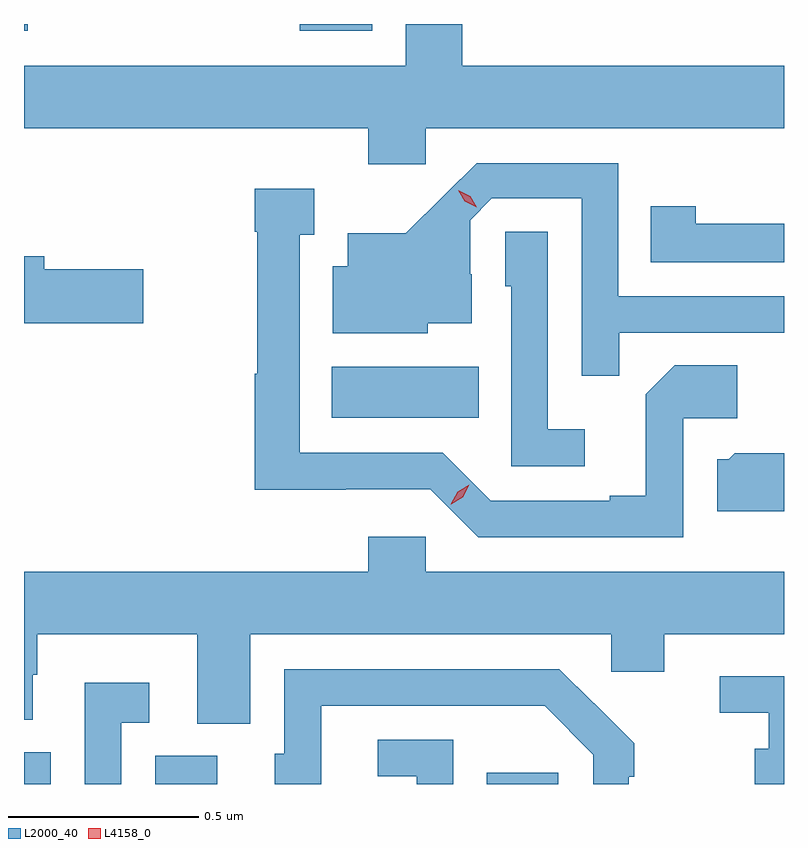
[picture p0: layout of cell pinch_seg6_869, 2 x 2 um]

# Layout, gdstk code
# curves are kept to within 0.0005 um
import gdstk
lib = gdstk.Library(unit=1e-6, precision=1e-09)
def R(c, l, rs):  # rectangles x0, y0, x1, y1
    for r in rs: c.add(gdstk.rectangle(r[:2], r[2:], *l))
def P(c, l, *ps):  # polygons
    for p in ps: c.add(gdstk.Polygon(p, *l))
L2000_40 = (2000, 40)
L4158_0 = (4158, 0)

pinch_seg6_869 = lib.new_cell('pinch_seg6_869')
R(pinch_seg6_869, L2000_40, [(125.015,976.246,125.086,976.33), (125.36,976.246,125.524,976.32), (126.233,976.246,126.421,976.276), (125.825,977.21,126.212,977.344), (125.015,978.228,125.025,978.246), (125.74,978.228,125.931,978.246)])
P(pinch_seg6_869, L2000_40, [(126.072,977.972),(127.015,977.972),(127.015,978.136),(126.168,978.136),(126.168,978.246),(126.02,978.246),(126.02,978.136),(125.015,978.136),(125.015,977.972),(125.921,977.972),(125.921,977.877),(126.072,977.877)],
  [(126.581,977.433),(127.015,977.433),(127.015,977.529),(126.579,977.529),(126.579,977.88),(126.206,977.88),(126.019,977.695),(125.867,977.695),(125.867,977.608),(125.828,977.608),(125.828,977.432),(126.078,977.432),(126.078,977.459),(126.193,977.459),(126.193,977.588),(126.189,977.588),(126.189,977.73),(126.246,977.787),(126.483,977.787),(126.483,977.32),(126.581,977.32)],
  [(126.75,977.208),(126.892,977.208),(126.892,977.348),(126.727,977.348),(126.651,977.272),(126.651,977.005),(126.557,977.005),(126.557,976.992),(126.243,976.992),(126.117,977.118),(125.74,977.118),(125.74,977.691),(125.779,977.691),(125.779,977.812),(125.622,977.812),(125.622,977.699),(125.629,977.699),(125.629,977.325),(125.622,977.325),(125.622,977.021),(125.862,977.021),(125.862,977.022),(126.084,977.022),(126.21,976.896),(126.75,976.896)],
  [(127.015,977.72),(126.783,977.72),(126.783,977.767),(126.664,977.767),(126.664,977.619),(127.015,977.619)],
  [(126.49,977.179),(126.393,977.179),(126.393,977.699),(126.282,977.699),(126.282,977.556),(126.297,977.556),(126.297,977.082),(126.49,977.082)],
  [(125.329,977.601),(125.068,977.601),(125.068,977.635),(125.015,977.635),(125.015,977.459),(125.329,977.459)],
  [(127.015,977.116),(126.886,977.116),(126.87,977.1),(126.839,977.1),(126.839,976.964),(127.015,976.964)],
  [(125.611,976.64),(126.561,976.64),(126.561,976.542),(126.7,976.542),(126.7,976.64),(127.015,976.64),(127.015,976.804),(126.072,976.804),(126.072,976.897),(125.921,976.897),(125.921,976.804),(125.015,976.804),(125.015,976.415),(125.038,976.415),(125.038,976.533),(125.05,976.533),(125.05,976.64),(125.471,976.64),(125.471,976.405),(125.611,976.405)],
  [(125.797,976.452),(126.385,976.452),(126.513,976.323),(126.513,976.246),(126.606,976.246),(126.606,976.265),(126.621,976.265),(126.621,976.353),(126.516,976.458),(126.515,976.457),(126.424,976.548),(125.7,976.548),(125.7,976.326),(125.675,976.326),(125.675,976.246),(125.797,976.246)],
  [(127.015,976.53),(126.846,976.53),(126.846,976.434),(126.975,976.434),(126.975,976.339),(126.938,976.339),(126.938,976.246),(127.015,976.246)],
  [(125.271,976.407),(125.344,976.407),(125.344,976.513),(125.175,976.513),(125.175,976.246),(125.271,976.246)],
  [(126.144,976.362),(125.946,976.362),(125.946,976.266),(126.048,976.266),(126.048,976.246),(126.144,976.246)])
P(pinch_seg6_869, L4158_0, [(126.206,977.764),(126.175,977.779),(126.158,977.808),(126.158,977.808),(126.158,977.808),(126.189,977.793),(126.206,977.764),(126.206,977.764)],
  [(126.138,976.982),(126.138,976.982),(126.156,977.015),(126.187,977.034),(126.187,977.034),(126.187,977.034),(126.17,977.001),(126.139,976.982)])

lib.write_gds('pinch_seg6_869.gds')
